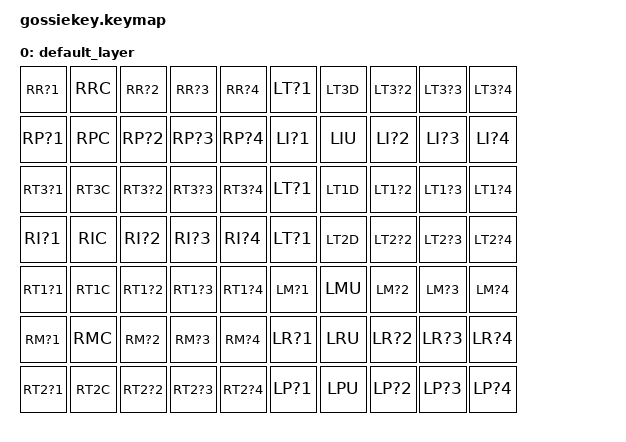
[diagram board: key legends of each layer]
#include <behaviors.dtsi>
#include <dt-bindings/zmk/keys.h>

/ {
    keymap {
        compatible = "zmk,keymap";

        default_layer {
            bindings = <

                &kp RR?1   &kp RRC   &kp RR?2   &kp RR?3   &kp RR?4           &kp LT?1  &kp LT3D  &kp LT3?2   &kp LT3?3   &kp LT3?4
                &kp RP?1   &kp RPC   &kp RP?2   &kp RP?3   &kp RP?4           &kp LI?1  &kp LIU   &kp LI?2    &kp LI?3    &kp LI?4
                &kp RT3?1  &kp RT3C  &kp RT3?2  &kp RT3?3  &kp RT3?4          &kp LT?1  &kp LT1D  &kp LT1?2   &kp LT1?3   &kp LT1?4
                &kp RI?1   &kp RIC   &kp RI?2   &kp RI?3   &kp RI?4           &kp LT?1  &kp LT2D  &kp LT2?2   &kp LT2?3   &kp LT2?4
                &kp RT1?1  &kp RT1C  &kp RT1?2  &kp RT1?3  &kp RT1?4          &kp LM?1  &kp LMU   &kp LM?2    &kp LM?3    &kp LM?4
                &kp RM?1   &kp RMC   &kp RM?2   &kp RM?3   &kp RM?4           &kp LR?1  &kp LRU   &kp LR?2    &kp LR?3    &kp LR?4
                &kp RT2?1  &kp RT2C  &kp RT2?2  &kp RT2?3  &kp RT2?4          &kp LP?1  &kp LPU   &kp LP?2    &kp LP?3    &kp LP?4            >;
            >;
        };
    };
};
